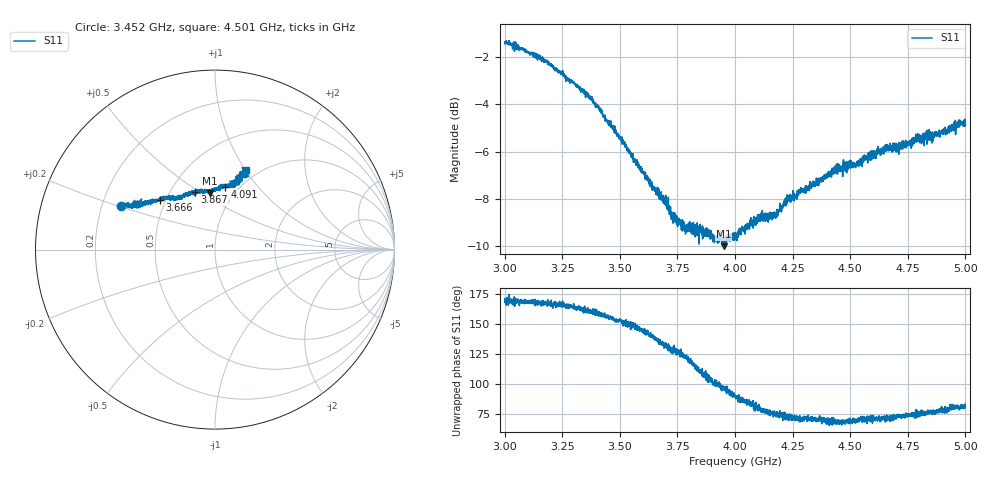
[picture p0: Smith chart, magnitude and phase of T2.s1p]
#  HZ  S  DB  R  50.0
! Rohde & Schwarz ZVL6 2Ports - Version 3.31 - 1303.6509k06 SN: 101466
! Date: 2017-04-20 20:11:00
! Power: 0dBm
! Data & Calibration Information:
! Trc3:S11(Full One Port)
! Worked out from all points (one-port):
!   3001 points, 3 GHz to 5 GHz, reference 50 ohm
!   lowest |S11| = -10.0 dB at 3.952 GHz (marker M1), VSWR 1.93, Z = 38.8 + j27.2 ohm
!   |S11| at or under -10 dB: nowhere
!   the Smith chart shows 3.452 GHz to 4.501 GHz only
!   S11 on the Smith chart (normalised r, x): 3.452 GHz: 0.28, +0.21; 3.666 GHz: 0.46, +0.31; 3.867 GHz: 0.66, +0.48; 4.091 GHz: 0.86, +0.68; 4.501 GHz: 0.88, +1.00
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3e9  -1.43 171.2
3.014e9  -1.48 168.3
3.049333e9  -1.44 169.3
3.131333e9  -1.89 168.9
3.174e9  -2.20 168.1
3.205333e9  -2.34 166.8
3.25e9  -2.70 165.9
3.357333e9  -3.57 161.5
3.452e9  -4.76 154.9
3.5e9  -5.36 154.3
3.666e9  -7.66 138.1
3.75e9  -8.93 125.6
3.798e9  -9.13 119.4
3.866667e9  -9.35 109.5
3.952e9  -9.99 95.3
4e9  -9.66 89.3
4.091333e9  -9.08 81.0
4.174667e9  -8.69 73.9
4.25e9  -7.93 69.7
4.372667e9  -7.20 72.5
4.448667e9  -6.52 68.3
4.5e9  -6.46 69.4
4.500667e9  -6.50 68.7
4.552e9  -6.64 70.4
4.664667e9  -5.79 70.3
4.75e9  -5.75 74.3
4.865333e9  -5.29 77.6
5e9  -4.90 81.0
